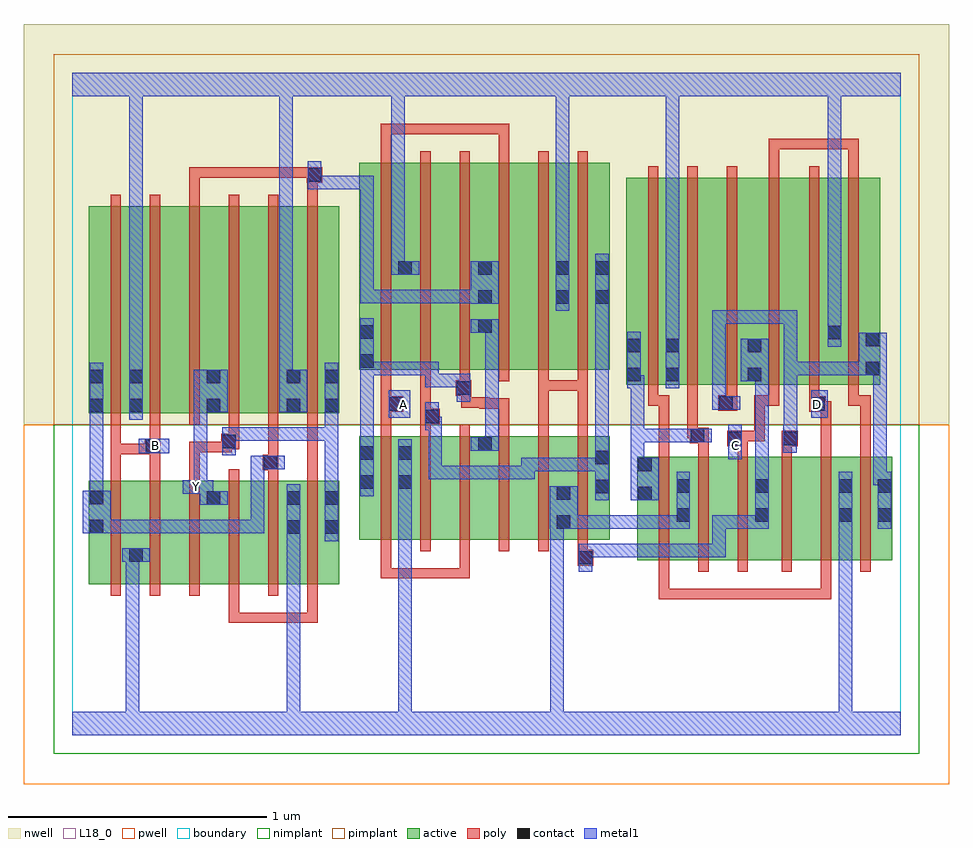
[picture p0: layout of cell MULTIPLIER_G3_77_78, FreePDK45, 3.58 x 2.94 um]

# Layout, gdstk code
import gdstk
lib = gdstk.Library(unit=1e-6, precision=1e-09)
def R(c, l, rs):  # rectangles x0, y0, x1, y1
    for r in rs: c.add(gdstk.rectangle(r[:2], r[2:], *l))
def A(c, l, x, y, w, h, nx, ny, dx, dy):  # array of equal rectangles
    R(c, l, [(x+i*dx, y+j*dy, x+i*dx+w, y+j*dy+h) for i in range(nx) for j in range(ny)])
active = (1, 0)
pwell = (2, 0)
nwell = (3, 0)
nimplant = (4, 0)
pimplant = (5, 0)
poly = (9, 0)
contact = (10, 0)
metal1 = (11, 0)
L18_0 = (18, 0)
boundary = (235, 0)

multiplier_g3_77_78 = lib.new_cell('MULTIPLIER_G3_77_78')
R(multiplier_g3_77_78, active, [(0.064,0.584,0.124,0.984), (0.064,0.584,0.276,0.984), (0.216,0.584,0.276,0.984), (0.216,0.584,0.396,0.984), (0.396,0.584,0.576,0.984), (0.516,0.584,0.576,0.984), (0.516,0.584,0.7,0.984), (0.7,0.584,0.884,0.984), (0.824,0.584,0.884,0.984), (0.824,0.584,1.032,0.984), (0.972,0.584,1.032,0.984), (2.182,0.676,2.39,1.076), (2.33,0.676,2.39,1.076), (2.33,0.676,2.514,1.076), (2.514,0.676,2.694,1.076), (2.634,0.676,2.836,1.076), (2.836,0.676,3.016,1.076), (2.956,0.676,3.016,1.076), (2.956,0.676,3.168,1.076), (3.108,0.676,3.168,1.076), (1.108,0.756,1.168,1.156), (1.108,0.756,1.316,1.156), (1.256,0.756,1.316,1.156), (1.256,0.756,1.44,1.156), (1.44,0.756,1.624,1.156), (1.564,0.756,1.624,1.156), (1.564,0.756,1.744,1.156), (1.744,0.756,1.928,1.156), (1.868,0.756,1.928,1.156), (1.868,0.756,2.076,1.156), (2.016,0.756,2.076,1.156), (2.182,0.756,2.242,1.076), (2.634,0.756,2.694,0.994), (0.064,1.244,0.124,2.044), (0.064,1.244,0.276,2.044), (0.216,1.244,0.276,2.044), (0.216,1.244,0.396,2.044), (0.396,1.244,0.576,2.044), (0.516,1.244,0.576,2.044), (0.516,1.244,0.7,2.044), (0.7,1.244,0.884,2.044), (0.824,1.244,1.032,2.044), (0.824,1.244,0.884,2.044), (0.972,1.244,1.032,2.044), (2.14,1.354,2.2,2.044), (2.14,1.354,2.348,2.154), (2.288,1.354,2.348,2.044), (2.288,1.354,2.472,2.154), (2.472,1.354,2.666,2.154), (2.606,1.354,2.666,2.154), (2.606,1.354,2.786,2.154), (2.786,1.354,2.974,2.154), (2.914,1.354,3.122,2.154), (2.914,1.354,2.974,2.154), (3.062,1.354,3.122,2.044), (1.108,1.412,1.316,2.212), (1.108,1.412,1.168,2.044), (1.256,1.412,1.44,2.212), (1.44,1.412,1.624,2.212), (1.564,1.412,1.744,2.212), (1.564,1.412,1.624,2.044), (1.744,1.412,1.924,2.212), (1.864,1.412,1.924,2.212), (1.864,1.412,2.076,2.212), (2.016,1.412,2.076,2.044), (1.256,1.65,1.316,2.044)])
R(multiplier_g3_77_78, pwell, [(-0.188,-0.188,3.388,1.2)])
R(multiplier_g3_77_78, nwell, [(-0.188,1.2,3.388,2.748)])
R(multiplier_g3_77_78, nimplant, [(-0.072,-0.072,3.272,1.2)])
R(multiplier_g3_77_78, pimplant, [(-0.072,1.2,3.272,2.632)])
A(multiplier_g3_77_78, poly, 0.148, 0.54, 0.04, 0.488, 6, 1, 0.152, 0)
A(multiplier_g3_77_78, poly, 2.266, 0.632, 0.04, 0.488, 3, 1, 0.152, 0)
A(multiplier_g3_77_78, poly, 2.74, 0.632, 0.04, 0.488, 3, 1, 0.152, 0)
A(multiplier_g3_77_78, poly, 1.192, 0.712, 0.04, 0.488, 6, 1, 0.152, 0)
A(multiplier_g3_77_78, poly, 0.148, 1.2, 0.04, 0.888, 6, 1, 0.152, 0)
A(multiplier_g3_77_78, poly, 2.224, 1.31, 0.04, 0.888, 3, 1, 0.152, 0)
A(multiplier_g3_77_78, poly, 1.192, 1.368, 0.04, 0.888, 6, 1, 0.152, 0)
R(multiplier_g3_77_78, poly, [(0.604,0.434,0.644,0.58), (0.604,0.434,0.644,0.474), (0.604,0.434,0.75,0.474), (0.71,0.434,0.75,0.474), (0.71,0.434,0.75,0.474), (0.71,0.434,0.75,0.474), (0.71,0.434,0.948,0.474), (0.908,0.434,0.948,0.58), (0.908,0.434,0.948,0.474), (0.908,0.434,0.948,0.474), (0.908,0.434,0.948,0.474), (2.266,0.526,2.306,0.672), (2.266,0.526,2.306,0.566), (2.266,0.526,2.306,0.566), (2.266,0.526,2.306,0.566), (2.266,0.526,2.412,0.566), (2.372,0.526,2.412,0.566), (2.372,0.526,2.412,0.566), (2.372,0.526,2.412,0.566), (2.372,0.526,2.518,0.566), (2.478,0.526,2.518,0.566), (2.478,0.526,2.746,0.566), (2.706,0.526,2.746,0.566), (2.706,0.526,2.746,0.566), (2.706,0.526,2.746,0.566), (2.706,0.526,2.932,0.566), (2.892,0.526,2.932,0.672), (2.892,0.526,2.932,0.566), (2.892,0.526,2.932,0.566), (2.892,0.526,2.932,0.566), (1.192,0.606,1.232,0.752), (1.192,0.606,1.232,0.646), (1.192,0.606,1.232,0.646), (1.192,0.606,1.232,0.646), (1.192,0.606,1.4,0.646), (1.36,0.606,1.4,0.646), (1.36,0.606,1.4,0.646), (1.36,0.606,1.4,0.646), (1.36,0.606,1.536,0.646), (1.496,0.606,1.536,0.752), (1.496,0.606,1.536,0.646), (1.952,0.656,2.012,0.716), (1.952,0.676,1.992,0.752), (0.148,0.988,0.188,1.126), (0.3,0.988,0.34,1.126), (0.452,0.988,0.492,1.134), (0.756,0.988,0.796,1.064), (0.908,0.988,0.948,1.11), (0.736,1.024,0.796,1.084), (0.756,1.044,0.796,1.084), (0.756,1.044,0.796,1.084), (0.756,1.044,0.796,1.24), (0.908,1.07,0.948,1.11), (0.908,1.07,0.948,1.11), (0.908,1.07,0.948,1.11), (0.908,1.07,0.948,1.24), (2.266,1.08,2.306,1.314), (2.418,1.08,2.458,1.168), (2.57,1.08,2.61,1.156), (2.74,1.08,2.78,1.156), (2.892,1.08,2.932,1.29), (3.044,1.08,3.084,1.314), (0.148,1.086,0.188,1.126), (0.148,1.086,0.188,1.126), (0.148,1.086,0.188,1.126), (0.148,1.086,0.188,1.126), (0.148,1.086,0.188,1.126), (0.148,1.086,0.32,1.126), (0.148,1.086,0.188,1.24), (0.28,1.086,0.34,1.146), (0.3,1.086,0.34,1.126), (0.3,1.086,0.34,1.126), (0.452,1.094,0.492,1.134), (0.452,1.094,0.492,1.134), (0.452,1.094,0.492,1.134), (0.452,1.094,0.616,1.134), (0.576,1.094,0.616,1.146), (0.3,1.106,0.34,1.24), (0.576,1.106,0.616,1.146), (0.576,1.106,0.644,1.166), (2.53,1.116,2.61,1.176), (2.74,1.116,2.802,1.176), (0.604,1.126,0.644,1.24), (2.386,1.128,2.458,1.188), (2.57,1.136,2.674,1.176), (2.634,1.136,2.674,1.176), (2.634,1.136,2.674,1.314), (2.376,1.148,2.416,1.35), (2.376,1.148,2.426,1.188), (2.386,1.148,2.426,1.188), (1.192,1.16,1.232,1.29), (1.344,1.16,1.384,1.242), (1.648,1.16,1.688,1.302), (1.8,1.16,1.84,1.372), (1.952,1.16,1.992,1.372), (1.344,1.202,1.42,1.262), (1.344,1.222,1.384,1.262), (1.344,1.222,1.384,1.262), (1.344,1.222,1.384,1.408), (1.192,1.25,1.278,1.31), (2.846,1.25,2.91,1.31), (2.87,1.25,2.91,1.29), (2.87,1.25,2.932,1.29), (2.496,1.254,2.568,1.314), (1.572,1.262,1.688,1.302), (1.572,1.262,1.612,1.306), (1.648,1.262,1.688,1.302), (1.502,1.266,1.542,1.306), (1.502,1.266,1.612,1.306), (1.502,1.266,1.542,1.352), (1.192,1.27,1.232,1.31), (1.192,1.27,1.232,1.31), (1.192,1.27,1.232,1.408), (2.846,1.27,2.886,1.35), (2.224,1.274,2.264,1.35), (2.224,1.274,2.29,1.314), (2.25,1.274,2.29,1.314), (2.25,1.274,2.306,1.314), (2.528,1.274,2.568,1.35), (2.634,1.274,2.674,1.314), (2.634,1.274,2.73,1.314), (2.69,1.274,2.73,1.314), (2.69,1.274,2.73,1.35), (2.998,1.274,3.038,1.35), (2.998,1.274,3.084,1.314), (3.044,1.274,3.084,1.314), (3.044,1.274,3.084,1.314), (2.69,1.31,2.73,2.198), (2.846,1.31,2.886,2.198), (2.998,1.31,3.038,2.198), (1.482,1.312,1.542,1.372), (1.496,1.332,1.536,1.408), (1.8,1.332,1.84,1.372), (1.8,1.332,1.84,1.372), (1.8,1.332,1.84,1.372), (1.8,1.332,1.84,1.408), (1.8,1.332,1.992,1.372), (1.952,1.332,1.992,1.372), (1.952,1.332,1.992,1.372), (1.952,1.332,1.992,1.372), (1.952,1.332,1.992,1.372), (1.952,1.332,1.992,1.372), (1.952,1.332,1.992,1.408), (0.452,2.048,0.492,2.194), (0.908,2.048,0.948,2.174), (0.906,2.134,0.966,2.194), (0.452,2.154,0.492,2.194), (0.452,2.154,0.492,2.194), (0.452,2.154,0.492,2.194), (0.452,2.154,0.598,2.194), (0.558,2.154,0.598,2.194), (0.558,2.154,0.84,2.194), (0.8,2.154,0.84,2.194), (0.8,2.154,0.84,2.194), (0.8,2.154,0.84,2.194), (0.8,2.154,0.946,2.194), (0.906,2.154,0.946,2.194), (0.906,2.154,0.946,2.194), (2.69,2.158,2.73,2.304), (2.998,2.158,3.038,2.304), (1.192,2.216,1.232,2.362), (1.648,2.216,1.688,2.362), (2.69,2.264,2.73,2.304), (2.69,2.264,2.932,2.304), (2.892,2.264,2.932,2.304), (2.892,2.264,2.932,2.304), (2.892,2.264,2.932,2.304), (2.892,2.264,3.038,2.304), (2.998,2.264,3.038,2.304), (2.998,2.264,3.038,2.304), (2.998,2.264,3.038,2.304), (1.192,2.322,1.232,2.362), (1.192,2.322,1.232,2.362), (1.192,2.322,1.232,2.362), (1.192,2.322,1.338,2.362), (1.298,2.322,1.338,2.362), (1.298,2.322,1.506,2.362), (1.466,2.322,1.506,2.362), (1.466,2.322,1.506,2.362), (1.466,2.322,1.506,2.362), (1.466,2.322,1.688,2.362), (1.648,2.322,1.688,2.362), (1.648,2.322,1.688,2.362), (1.648,2.322,1.688,2.362)])
A(multiplier_g3_77_78, contact, 1.568, 1.556, 0.052, 0.052, 1, 3, 0, 0.112)
R(multiplier_g3_77_78, contact, [(1.956,0.66,2.008,0.712), (0.22,0.67,0.272,0.722), (0.828,0.778,0.88,0.83), (0.976,0.778,1.028,0.83), (0.068,0.78,0.12,0.832), (1.872,0.798,1.924,0.85), (2.334,0.826,2.386,0.878), (2.638,0.826,2.69,0.878), (2.96,0.826,3.012,0.878), (3.112,0.826,3.164,0.878), (0.52,0.89,0.572,0.942), (0.828,0.89,0.88,0.942), (0.976,0.89,1.028,0.942), (0.068,0.892,0.12,0.944), (2.186,0.908,2.238,0.96), (1.872,0.91,1.924,0.962), (2.02,0.936,2.072,0.988), (2.334,0.938,2.386,0.99), (2.638,0.938,2.69,0.99), (2.96,0.938,3.012,0.99), (3.112,0.938,3.164,0.99), (1.112,0.952,1.164,1.004), (1.26,0.952,1.312,1.004), (2.186,1.02,2.238,1.072), (0.74,1.028,0.792,1.08), (2.02,1.048,2.072,1.1), (1.112,1.064,1.164,1.116), (1.26,1.064,1.312,1.116), (0.284,1.09,0.336,1.142), (1.568,1.1,1.62,1.152), (0.58,1.11,0.632,1.162), (2.534,1.12,2.586,1.172), (2.746,1.12,2.798,1.172), (2.39,1.132,2.442,1.184), (1.364,1.206,1.416,1.258), (0.068,1.248,0.12,1.3), (0.22,1.248,0.272,1.3), (0.52,1.248,0.572,1.3), (0.828,1.248,0.88,1.3), (0.976,1.248,1.028,1.3), (1.222,1.254,1.274,1.306), (2.854,1.254,2.906,1.306), (2.5,1.258,2.552,1.31), (1.486,1.316,1.538,1.368), (0.068,1.36,0.12,1.412), (0.22,1.36,0.272,1.412), (0.52,1.36,0.572,1.412), (0.828,1.36,0.88,1.412), (0.976,1.36,1.028,1.412), (2.144,1.368,2.196,1.42), (2.292,1.368,2.344,1.42), (2.61,1.368,2.662,1.42), (3.066,1.392,3.118,1.444), (1.112,1.42,1.164,1.472), (2.144,1.48,2.196,1.532), (2.292,1.48,2.344,1.532), (2.61,1.48,2.662,1.532), (3.066,1.504,3.118,1.556), (2.918,1.53,2.97,1.582), (1.112,1.532,1.164,1.584), (1.868,1.668,1.92,1.72), (2.02,1.668,2.072,1.72), (1.26,1.78,1.312,1.832), (1.868,1.78,1.92,1.832), (2.02,1.78,2.072,1.832), (0.91,2.138,0.962,2.19)])
R(multiplier_g3_77_78, metal1, [(0,0,3.2,0.092), (0.206,0.04,0.258,0.092), (0.206,0.04,0.258,0.092), (0.206,0.04,0.258,0.092), (0.206,0.04,0.258,0.092), (0.206,0.04,0.258,0.092), (0.206,0.04,0.258,0.092), (0.206,0.04,0.258,0.092), (0.206,0.04,0.258,0.092), (0.206,0.04,0.258,0.092), (0.206,0.04,0.258,0.092), (0.206,0.04,0.258,0.722), (0.828,0.04,0.88,0.092), (0.828,0.04,0.88,0.092), (0.828,0.04,0.88,0.092), (0.828,0.04,0.88,0.092), (0.828,0.04,0.88,0.092), (0.828,0.04,0.88,0.092), (0.828,0.04,0.88,0.092), (0.828,0.04,0.88,0.092), (0.828,0.04,0.88,0.092), (0.828,0.04,0.88,0.092), (0.828,0.04,0.88,0.092), (0.828,0.04,0.88,0.092), (0.828,0.04,0.88,0.802), (1.26,0.04,1.312,0.092), (1.26,0.04,1.312,0.092), (1.26,0.04,1.312,0.092), (1.26,0.04,1.312,0.092), (1.26,0.04,1.312,0.092), (1.26,0.04,1.312,0.092), (1.26,0.04,1.312,0.976), (1.846,0.04,1.898,0.092), (1.846,0.04,1.898,0.092), (1.846,0.04,1.898,0.092), (1.846,0.04,1.898,0.092), (1.846,0.04,1.898,0.092), (1.846,0.04,1.898,0.092), (1.846,0.04,1.898,0.092), (1.846,0.04,1.898,0.092), (1.846,0.04,1.898,0.092), (1.846,0.04,1.898,0.092), (1.846,0.04,1.898,0.85), (2.96,0.04,3.012,0.092), (2.96,0.04,3.012,0.092), (2.96,0.04,3.012,0.092), (2.96,0.04,3.012,0.092), (2.96,0.04,3.012,0.092), (2.96,0.04,3.012,0.092), (2.96,0.04,3.012,0.092), (2.96,0.04,3.012,0.092), (2.96,0.04,3.012,0.092), (2.96,0.04,3.012,0.092), (2.96,0.04,3.012,0.092), (2.96,0.04,3.012,0.092), (2.96,0.04,3.012,0.85), (1.956,0.632,2.008,0.74), (0.192,0.67,0.3,0.722), (0.206,0.67,0.258,0.722), (0.206,0.67,0.258,0.722), (1.956,0.688,2.1,0.74), (2.048,0.688,2.1,0.74), (2.048,0.688,2.21,0.74), (2.158,0.688,2.21,0.74), (2.158,0.688,2.21,0.74), (2.158,0.688,2.21,0.74), (2.158,0.688,2.344,0.74), (2.292,0.688,2.344,0.74), (2.292,0.688,2.344,0.74), (2.292,0.688,2.344,0.74), (2.292,0.688,2.524,0.74), (2.472,0.688,2.524,0.74), (2.472,0.688,2.524,0.85), (0.828,0.75,0.88,0.97), (0.976,0.75,1.028,0.97), (0.04,0.78,0.148,0.944), (0.082,0.78,0.134,0.832), (0.082,0.78,0.134,0.832), (0.082,0.78,0.134,0.832), (0.082,0.78,0.134,0.832), (0.082,0.78,0.258,0.832), (0.206,0.78,0.258,0.832), (0.206,0.78,0.258,0.832), (0.206,0.78,0.258,0.832), (0.206,0.78,0.368,0.832), (0.316,0.78,0.368,0.832), (0.316,0.78,0.368,0.832), (0.316,0.78,0.368,0.832), (0.316,0.78,0.484,0.832), (0.432,0.78,0.484,0.832), (0.432,0.78,0.484,0.832), (0.432,0.78,0.484,0.832), (0.432,0.78,0.742,0.832), (0.69,0.78,0.742,0.832), (0.69,0.78,0.742,0.832), (0.69,0.78,0.742,0.832), (0.69,0.78,0.742,1.08), (1.844,0.798,1.952,0.962), (1.846,0.798,1.898,0.85), (1.846,0.798,1.898,0.85), (1.9,0.798,1.952,0.85), (1.9,0.798,1.952,0.85), (1.9,0.798,2.1,0.85), (2.048,0.798,2.1,0.85), (2.048,0.798,2.234,0.85), (2.182,0.798,2.234,0.85), (2.182,0.798,2.234,0.85), (2.182,0.798,2.234,0.85), (2.182,0.798,2.386,0.85), (2.334,0.798,2.386,1.018), (2.472,0.798,2.524,0.85), (2.472,0.798,2.524,0.85), (2.472,0.798,2.524,0.85), (2.472,0.798,2.69,0.85), (2.638,0.798,2.69,1.018), (2.96,0.798,3.012,1.018), (3.112,0.798,3.164,1.018), (0.492,0.89,0.6,0.942), (0.492,0.89,0.544,0.986), (0.068,0.892,0.12,1.272), (2.02,0.908,2.072,1.128), (2.158,0.908,2.266,1.072), (0.976,0.918,1.028,1.19), (1.112,0.924,1.164,1.144), (1.26,0.924,1.312,0.976), (1.26,0.924,1.312,0.976), (1.26,0.924,1.312,0.976), (1.26,0.924,1.312,0.976), (1.26,0.924,1.312,0.976), (1.26,0.924,1.312,0.976), (1.26,0.924,1.312,1.144), (0.426,0.934,0.544,0.986), (0.47,0.934,0.522,1.3), (2.638,0.966,2.69,1.018), (2.638,0.966,2.69,1.018), (2.638,0.966,2.69,1.018), (2.638,0.966,2.69,1.018), (2.638,0.966,2.69,1.018), (2.638,0.966,2.69,1.018), (2.638,0.966,2.69,1.018), (2.638,0.966,2.69,1.018), (2.638,0.966,2.69,1.42), (3.094,0.966,3.146,1.444), (3.094,0.966,3.164,1.018), (3.112,0.966,3.164,1.018), (3.112,0.966,3.164,1.018), (3.112,0.966,3.164,1.018), (1.376,0.99,1.428,1.042), (1.376,0.99,1.538,1.042), (1.376,0.99,1.428,1.23), (1.486,0.99,1.538,1.042), (1.486,0.99,1.538,1.042), (1.486,0.99,1.538,1.042), (1.486,0.99,1.732,1.042), (1.68,0.99,1.732,1.042), (1.68,0.99,1.786,1.042), (1.734,0.99,1.786,1.072), (1.734,1.02,1.842,1.072), (1.79,1.02,1.842,1.072), (1.79,1.02,1.962,1.072), (1.91,1.02,1.962,1.072), (1.91,1.02,2.072,1.072), (2.02,1.02,2.072,1.072), (2.02,1.02,2.072,1.072), (2.158,1.02,2.21,1.184), (0.69,1.028,0.742,1.08), (0.69,1.028,0.764,1.08), (0.712,1.028,0.82,1.08), (2.534,1.066,2.586,1.2), (2.02,1.076,2.072,1.692), (0.58,1.082,0.632,1.19), (0.256,1.09,0.374,1.146), (1.112,1.092,1.164,1.144), (1.112,1.092,1.164,1.144), (1.112,1.092,1.164,1.444), (2.746,1.092,2.798,1.2), (1.54,1.1,1.648,1.152), (1.596,1.1,1.648,1.152), (1.596,1.1,1.648,1.152), (1.596,1.1,1.648,1.152), (1.596,1.1,1.648,1.152), (1.596,1.1,1.648,1.608), (2.158,1.132,2.21,1.184), (2.158,1.132,2.21,1.184), (2.158,1.132,2.21,1.184), (2.158,1.132,2.414,1.184), (2.158,1.132,2.21,1.392), (2.362,1.132,2.414,1.184), (2.362,1.132,2.414,1.184), (2.362,1.132,2.47,1.184), (0.58,1.138,0.632,1.19), (0.58,1.138,0.632,1.19), (0.58,1.138,0.852,1.19), (0.8,1.138,0.852,1.19), (0.8,1.138,0.852,1.19), (0.8,1.138,0.852,1.19), (0.8,1.138,1.028,1.19), (0.976,1.138,1.028,1.19), (0.976,1.138,1.028,1.19), (0.976,1.138,1.028,1.19), (0.976,1.138,1.028,1.19), (0.976,1.138,1.028,1.19), (0.976,1.138,1.028,1.272), (2.746,1.142,2.8,1.194), (2.748,1.142,2.8,1.194), (2.748,1.142,2.8,1.194), (2.748,1.142,2.8,1.194), (2.748,1.142,2.8,1.444), (1.364,1.178,1.416,1.286), (1.364,1.178,1.428,1.23), (1.376,1.178,1.428,1.23), (1.376,1.178,1.428,1.23), (1.376,1.178,1.428,1.23), (0.068,1.22,0.12,1.272), (0.068,1.22,0.12,1.272), (0.068,1.22,0.12,1.272), (0.068,1.22,0.12,1.272), (0.068,1.22,0.12,1.44), (0.22,1.22,0.272,1.44), (0.976,1.22,1.028,1.44), (1.222,1.226,1.306,1.334), (2.854,1.226,2.918,1.334), (0.47,1.248,0.522,1.3), (0.47,1.248,0.522,1.3), (0.47,1.248,0.6,1.412), (0.8,1.248,0.908,1.412), (2.472,1.258,2.524,1.31), (2.472,1.258,2.524,1.31), (2.472,1.258,2.58,1.31), (2.472,1.258,2.524,1.642), (1.486,1.288,1.538,1.396), (2.144,1.34,2.196,1.392), (2.144,1.34,2.196,1.56), (2.144,1.34,2.21,1.392), (2.292,1.34,2.344,1.56), (1.364,1.344,1.538,1.396), (1.364,1.344,1.416,1.444), (0.8,1.36,0.852,2.52), (2.582,1.368,2.69,1.532), (2.638,1.368,2.69,1.42), (2.638,1.368,2.69,1.42), (0.22,1.388,0.272,1.44), (0.22,1.388,0.272,1.44), (0.22,1.388,0.272,2.52), (1.112,1.392,1.164,1.444), (1.112,1.392,1.164,1.444), (1.112,1.392,1.164,1.612), (1.112,1.392,1.274,1.444), (1.222,1.392,1.274,1.444), (1.222,1.392,1.274,1.444), (1.222,1.392,1.274,1.444), (1.222,1.392,1.416,1.444), (1.364,1.392,1.416,1.444), (1.364,1.392,1.416,1.444), (2.748,1.392,2.8,1.444), (2.748,1.392,2.91,1.444), (2.748,1.392,2.8,1.642), (2.858,1.392,2.91,1.444), (2.858,1.392,2.91,1.444), (2.858,1.392,2.91,1.444), (2.858,1.392,3.09,1.444), (3.038,1.392,3.09,1.444), (3.038,1.392,3.09,1.444), (3.038,1.392,3.146,1.556), (2.918,1.502,2.97,1.61), (2.292,1.508,2.344,2.52), (1.54,1.556,1.648,1.608), (2.918,1.558,2.97,2.52), (2.472,1.59,2.524,1.642), (2.472,1.59,2.524,1.642), (2.472,1.59,2.524,1.642), (2.472,1.59,2.524,1.642), (2.472,1.59,2.524,1.642), (2.472,1.59,2.634,1.642), (2.582,1.59,2.634,1.642), (2.582,1.59,2.796,1.642), (2.744,1.59,2.796,1.642), (2.744,1.59,2.8,1.642), (2.748,1.59,2.8,1.642), (1.868,1.64,1.92,1.86), (2.02,1.64,2.072,1.692), (2.02,1.64,2.072,1.692), (2.02,1.64,2.072,1.692), (2.02,1.64,2.072,1.692), (2.02,1.64,2.072,1.692), (2.02,1.64,2.072,1.692), (2.02,1.64,2.072,1.86), (1.54,1.668,1.648,1.832), (1.112,1.67,1.164,1.722), (1.112,1.67,1.164,1.722), (1.112,1.67,1.164,1.722), (1.112,1.67,1.274,1.722), (1.112,1.67,1.164,2.162), (1.222,1.67,1.274,1.722), (1.222,1.67,1.274,1.722), (1.222,1.67,1.274,1.722), (1.222,1.67,1.416,1.722), (1.364,1.67,1.416,1.722), (1.364,1.67,1.416,1.722), (1.364,1.67,1.416,1.722), (1.364,1.67,1.592,1.722), (1.54,1.67,1.592,1.722), (1.54,1.67,1.592,1.722), (1.232,1.78,1.284,1.832), (1.232,1.78,1.284,1.832), (1.232,1.78,1.284,1.832), (1.232,1.78,1.284,1.832), (1.232,1.78,1.34,1.832), (1.232,1.78,1.284,2.52), (1.868,1.808,1.92,2.52), (0.91,2.11,0.962,2.218), (0.91,2.11,1.164,2.162), (1.112,2.11,1.164,2.162), (1.112,2.11,1.164,2.162), (1.112,2.11,1.164,2.162), (0,2.468,3.2,2.56), (0.22,2.468,0.272,2.52), (0.22,2.468,0.272,2.52), (0.22,2.468,0.272,2.52), (0.22,2.468,0.272,2.52), (0.22,2.468,0.272,2.52), (0.22,2.468,0.272,2.52), (0.8,2.468,0.852,2.52), (0.8,2.468,0.852,2.52), (0.8,2.468,0.852,2.52), (0.8,2.468,0.852,2.52), (0.8,2.468,0.852,2.52), (0.8,2.468,0.852,2.52), (0.8,2.468,0.852,2.52), (0.8,2.468,0.852,2.52), (1.232,2.468,1.284,2.52), (1.232,2.468,1.284,2.52), (1.232,2.468,1.284,2.52), (1.232,2.468,1.284,2.52), (1.868,2.468,1.92,2.52), (1.868,2.468,1.92,2.52), (1.868,2.468,1.92,2.52), (1.868,2.468,1.92,2.52), (1.868,2.468,1.92,2.52), (1.868,2.468,1.92,2.52), (1.868,2.468,1.92,2.52), (1.868,2.468,1.92,2.52), (2.292,2.468,2.344,2.52), (2.292,2.468,2.344,2.52), (2.292,2.468,2.344,2.52), (2.292,2.468,2.344,2.52), (2.292,2.468,2.344,2.52), (2.292,2.468,2.344,2.52), (2.292,2.468,2.344,2.52), (2.292,2.468,2.344,2.52), (2.918,2.468,2.97,2.52), (2.918,2.468,2.97,2.52), (2.918,2.468,2.97,2.52), (2.918,2.468,2.97,2.52), (2.918,2.468,2.97,2.52), (2.918,2.468,2.97,2.52), (2.918,2.468,2.97,2.52), (2.918,2.468,2.97,2.52)])
R(multiplier_g3_77_78, L18_0, [(0,0,3.2,0.092), (0.206,0.04,0.258,0.092), (0.206,0.04,0.258,0.092), (0.206,0.04,0.258,0.092), (0.206,0.04,0.258,0.092), (0.206,0.04,0.258,0.092), (0.206,0.04,0.258,0.092), (0.206,0.04,0.258,0.092), (0.206,0.04,0.258,0.092), (0.206,0.04,0.258,0.092), (0.206,0.04,0.258,0.092), (0.206,0.04,0.258,0.722), (0.828,0.04,0.88,0.092), (0.828,0.04,0.88,0.092), (0.828,0.04,0.88,0.092), (0.828,0.04,0.88,0.092), (0.828,0.04,0.88,0.092), (0.828,0.04,0.88,0.092), (0.828,0.04,0.88,0.092), (0.828,0.04,0.88,0.092), (0.828,0.04,0.88,0.092), (0.828,0.04,0.88,0.092), (0.828,0.04,0.88,0.092), (0.828,0.04,0.88,0.092), (0.828,0.04,0.88,0.802), (1.26,0.04,1.312,0.092), (1.26,0.04,1.312,0.092), (1.26,0.04,1.312,0.092), (1.26,0.04,1.312,0.092), (1.26,0.04,1.312,0.092), (1.26,0.04,1.312,0.092), (1.26,0.04,1.312,0.976), (1.846,0.04,1.898,0.092), (1.846,0.04,1.898,0.092), (1.846,0.04,1.898,0.092), (1.846,0.04,1.898,0.092), (1.846,0.04,1.898,0.092), (1.846,0.04,1.898,0.092), (1.846,0.04,1.898,0.092), (1.846,0.04,1.898,0.092), (1.846,0.04,1.898,0.092), (1.846,0.04,1.898,0.092), (1.846,0.04,1.898,0.85), (2.96,0.04,3.012,0.092), (2.96,0.04,3.012,0.092), (2.96,0.04,3.012,0.092), (2.96,0.04,3.012,0.092), (2.96,0.04,3.012,0.092), (2.96,0.04,3.012,0.092), (2.96,0.04,3.012,0.092), (2.96,0.04,3.012,0.092), (2.96,0.04,3.012,0.092), (2.96,0.04,3.012,0.092), (2.96,0.04,3.012,0.092), (2.96,0.04,3.012,0.092), (2.96,0.04,3.012,0.85), (0.192,0.67,0.3,0.722), (0.206,0.67,0.258,0.722), (0.206,0.67,0.258,0.722), (0.828,0.75,0.88,0.97), (1.844,0.798,1.952,0.962), (1.846,0.798,1.898,0.85), (1.846,0.798,1.898,0.85), (1.9,0.798,1.952,0.85), (1.9,0.798,1.952,0.85), (1.9,0.798,2.1,0.85), (2.048,0.798,2.1,0.85), (2.048,0.798,2.234,0.85), (2.182,0.798,2.234,0.85), (2.182,0.798,2.234,0.85), (2.182,0.798,2.234,0.85), (2.182,0.798,2.386,0.85), (2.334,0.798,2.386,1.018), (2.96,0.798,3.012,1.018), (0.492,0.89,0.6,0.942), (0.492,0.89,0.544,0.986), (1.26,0.924,1.312,0.976), (1.26,0.924,1.312,0.976), (1.26,0.924,1.312,0.976), (1.26,0.924,1.312,0.976), (1.26,0.924,1.312,0.976), (1.26,0.924,1.312,0.976), (1.26,0.924,1.312,1.144), (0.426,0.934,0.544,0.986), (0.454,0.934,0.506,0.986), (0.47,0.934,0.522,1.3), (2.534,1.066,2.586,1.2), (0.256,1.09,0.374,1.146), (0.294,1.094,0.346,1.146), (2.534,1.094,2.586,1.146), (0.22,1.22,0.272,1.44), (1.222,1.226,1.306,1.334), (2.854,1.226,2.918,1.334), (0.47,1.248,0.522,1.3), (0.47,1.248,0.522,1.3), (0.47,1.248,0.6,1.412), (0.8,1.248,0.908,1.412), (1.254,1.254,1.306,1.306), (2.854,1.254,2.906,1.306), (2.292,1.34,2.344,1.56), (0.8,1.36,0.852,2.52), (0.22,1.388,0.272,1.44), (0.22,1.388,0.272,1.44), (0.22,1.388,0.272,2.52), (2.918,1.502,2.97,1.61), (2.292,1.508,2.344,2.52), (2.918,1.558,2.97,2.52), (1.868,1.64,1.92,1.86), (1.232,1.78,1.284,1.832), (1.232,1.78,1.284,1.832), (1.232,1.78,1.284,1.832), (1.232,1.78,1.284,1.832), (1.232,1.78,1.34,1.832), (1.232,1.78,1.284,2.52), (1.868,1.808,1.92,2.52), (0,2.468,3.2,2.56), (0.22,2.468,0.272,2.52), (0.22,2.468,0.272,2.52), (0.22,2.468,0.272,2.52), (0.22,2.468,0.272,2.52), (0.22,2.468,0.272,2.52), (0.22,2.468,0.272,2.52), (0.8,2.468,0.852,2.52), (0.8,2.468,0.852,2.52), (0.8,2.468,0.852,2.52), (0.8,2.468,0.852,2.52), (0.8,2.468,0.852,2.52), (0.8,2.468,0.852,2.52), (0.8,2.468,0.852,2.52), (0.8,2.468,0.852,2.52), (1.232,2.468,1.284,2.52), (1.232,2.468,1.284,2.52), (1.232,2.468,1.284,2.52), (1.232,2.468,1.284,2.52), (1.868,2.468,1.92,2.52), (1.868,2.468,1.92,2.52), (1.868,2.468,1.92,2.52), (1.868,2.468,1.92,2.52), (1.868,2.468,1.92,2.52), (1.868,2.468,1.92,2.52), (1.868,2.468,1.92,2.52), (1.868,2.468,1.92,2.52), (2.292,2.468,2.344,2.52), (2.292,2.468,2.344,2.52), (2.292,2.468,2.344,2.52), (2.292,2.468,2.344,2.52), (2.292,2.468,2.344,2.52), (2.292,2.468,2.344,2.52), (2.292,2.468,2.344,2.52), (2.292,2.468,2.344,2.52), (2.918,2.468,2.97,2.52), (2.918,2.468,2.97,2.52), (2.918,2.468,2.97,2.52), (2.918,2.468,2.97,2.52), (2.918,2.468,2.97,2.52), (2.918,2.468,2.97,2.52), (2.918,2.468,2.97,2.52), (2.918,2.468,2.97,2.52)])
R(multiplier_g3_77_78, boundary, [(0,0,3.2,2.56)])
multiplier_g3_77_78.add(gdstk.Label('A', (1.28,1.28), layer=11, texttype=0))
multiplier_g3_77_78.add(gdstk.Label('B', (0.32,1.12), layer=11, texttype=0))
multiplier_g3_77_78.add(gdstk.Label('C', (2.56,1.12), layer=11, texttype=0))
multiplier_g3_77_78.add(gdstk.Label('D', (2.88,1.28), layer=11, texttype=0))
multiplier_g3_77_78.add(gdstk.Label('Y', (0.48,0.96), layer=11, texttype=0))

lib.write_gds('MULTIPLIER_G3_77_78.gds')
